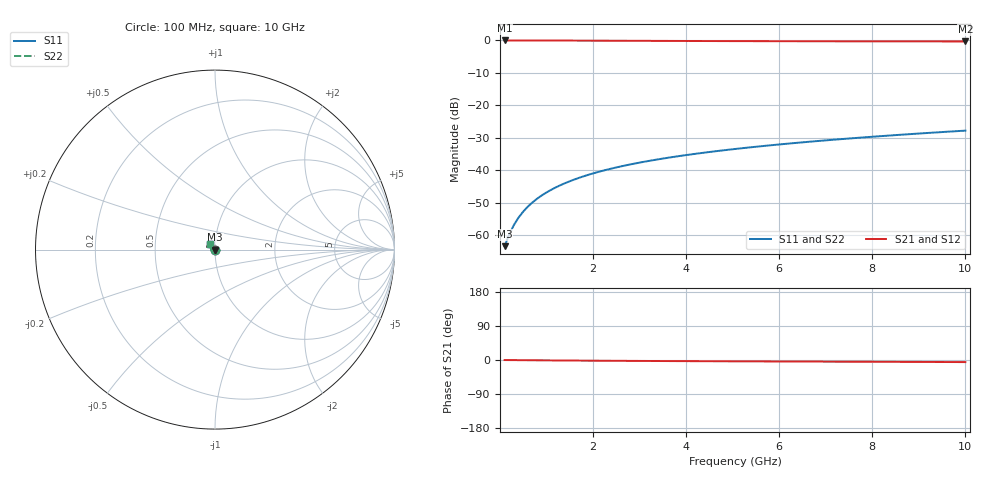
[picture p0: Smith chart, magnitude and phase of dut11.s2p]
! Touchstone file exported from HFSS 2024.1.0
!  File:  C:/UserFiles/LocalFiles/RDL_TSV_Batchsim/temp_TSV1_11_1779368117.aedt
!  Generated:  09:02:50 PM May 21, 2026
!  Design:  TSV1
!  Project:  temp_TSV1_11_1779368117
!  Setup:  Setup1
!  Solution:  Sweep
! Variables:
!  dtsv = 5.19um
!  hbump = 3um
!  htsv = 78.64um
!  lrdl = 252.1521522um
!  p = 40
!  p1 = 53.11um
!  t = 500um
!  trdl = 3um
!  wrdl = 24.89489489um
# GHz S MA R 50.000000
! Terminal data exported
! Port[1] = TSV22_T1
! Port[2] = TSV22_T2
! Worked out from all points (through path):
!   100 points, 100 MHz to 10 GHz, reference 50 ohm
!   highest |S21| = 0.00 dB at 100 MHz (marker M1); lowest = -0.3 dB at 10 GHz (marker M2)
!   lowest |S11| = -63.4 dB at 100 MHz (marker M3), VSWR 1.00, Z = 50 - j0.0473 ohm
!   |S11| at or under -10 dB: start of sweep to end of sweep
!   |S22| runs from -63.4 to -27.8 dB; largest |S21 - S12| = 3.1e-15
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0.1  0.0006788 -44.2  0.9995 -0.1  0.9995 -0.1  0.0006788 -44.2
! Gamma 0 0 0 0
! Port Impedance 50 0 50 0
0.2  0.001032 -66.1  0.9994 -0.2  0.9994 -0.2  0.001032 -66.1
0.3  0.001442 -77.8  0.9993 -0.3  0.9993 -0.3  0.001442 -77.8
0.4  0.001873 -85.5  0.9991 -0.4  0.9991 -0.4  0.001873 -85.5
0.5  0.002314 -91.3  0.9989 -0.5  0.9989 -0.5  0.002314 -91.3
0.6  0.002761 -96.0  0.9986 -0.6  0.9986 -0.6  0.002761 -96.0
0.7  0.003211 -100.1  0.9984 -0.7  0.9984 -0.7  0.003211 -100.1
0.9  0.004112 -107.3  0.9977 -0.9  0.9977 -0.9  0.004112 -107.3
1  0.004562 -110.5  0.9973 -1.0  0.9973 -1.0  0.004562 -110.5
1.2  0.005457 -116.5  0.9964 -1.2  0.9964 -1.2  0.005457 -116.5
1.5  0.006787 -124.8  0.995 -1.4  0.995 -1.4  0.006787 -124.8
1.8  0.008096 -132.4  0.9934 -1.7  0.9934 -1.7  0.008096 -132.4
2.1  0.009385 -139.5  0.9916 -1.9  0.9916 -1.9  0.009385 -139.5
2.5  0.01107 -148.3  0.9893 -2.2  0.9893 -2.2  0.01107 -148.3
2.9  0.01273 -156.3  0.987 -2.4  0.987 -2.4  0.01273 -156.3
3.4  0.01476 -165.4  0.9842 -2.7  0.9842 -2.7  0.01476 -165.4
4.2  0.01795 -178.0  0.9801 -3.1  0.9801 -3.1  0.01795 -178.0
5.1  0.02149 170.4  0.9764 -3.5  0.9764 -3.5  0.02149 170.4
5.9  0.02462 161.8  0.9737 -3.8  0.9737 -3.8  0.02462 161.8
6.7  0.02775 154.6  0.9714 -4.2  0.9714 -4.2  0.02775 154.6
8.4  0.03444 142.5  0.9678 -4.9  0.9678 -4.9  0.03444 142.5
10  0.04083 134.0  0.9653 -5.5  0.9653 -5.5  0.04083 134.0
